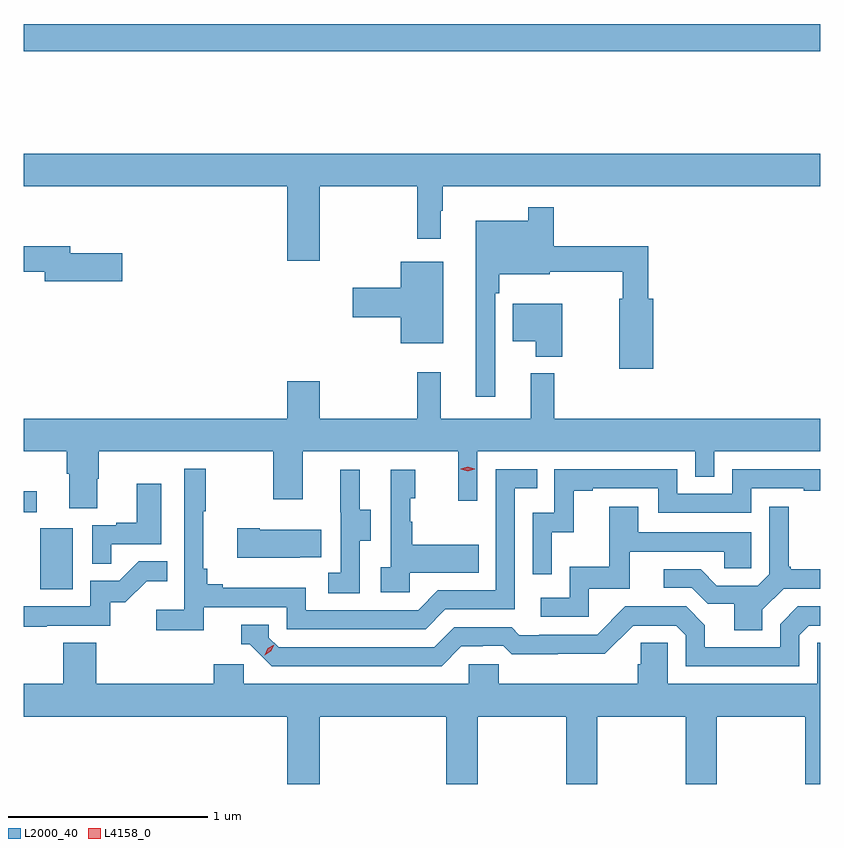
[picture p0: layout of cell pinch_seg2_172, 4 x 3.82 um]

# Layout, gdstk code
import gdstk
lib = gdstk.Library(unit=1e-6, precision=1e-09)
def R(c, l, rs):  # rectangles x0, y0, x1, y1
    for r in rs: c.add(gdstk.rectangle(r[:2], r[2:], *l))
def P(c, l, *ps):  # polygons
    for p in ps: c.add(gdstk.Polygon(p, *l))
L2000_40 = (2000, 40)
L4158_0 = (4158, 0)

pinch_seg2_172 = lib.new_cell('pinch_seg2_172')
R(pinch_seg2_172, L2000_40, [(1134.794,632.292,1134.958,632.599), (1134.713,632.679,1134.778,632.785), (1134.713,634.996,1138.713,635.132)])
P(pinch_seg2_172, L2000_40, [(1136.2,634.316),(1136.689,634.316),(1136.689,634.053),(1136.806,634.053),(1136.806,634.193),(1136.818,634.193),(1136.818,634.316),(1138.713,634.316),(1138.713,634.48),(1134.713,634.48),(1134.713,634.316),(1136.036,634.316),(1136.036,633.942),(1136.2,633.942)],
  [(1137.081,633.779),(1137.101,633.779),(1137.101,633.875),(1137.355,633.875),(1137.355,633.886),(1137.723,633.886),(1137.723,633.751),(1137.704,633.751),(1137.704,633.399),(1137.875,633.399),(1137.875,633.751),(1137.851,633.751),(1137.851,634.015),(1137.374,634.015),(1137.374,634.21),(1137.246,634.21),(1137.246,634.144),(1136.984,634.144),(1136.984,633.258),(1137.081,633.258)],
  [(1135.207,633.981),(1134.946,633.981),(1134.946,634.015),(1134.713,634.015),(1134.713,633.886),(1134.818,633.886),(1134.818,633.839),(1135.207,633.839)],
  [(1136.821,633.937),(1136.606,633.937),(1136.606,633.806),(1136.364,633.806),(1136.364,633.659),(1136.606,633.659),(1136.606,633.527),(1136.821,633.527)],
  [(1137.418,633.727),(1137.17,633.727),(1137.17,633.539),(1137.284,633.539),(1137.284,633.461),(1137.418,633.461)],
  [(1135.081,632.847),(1135.089,632.847),(1135.089,632.984),(1135.966,632.984),(1135.966,632.745),(1136.113,632.745),(1136.113,632.984),(1136.894,632.984),(1136.894,632.736),(1136.991,632.736),(1136.991,632.984),(1138.086,632.984),(1138.086,632.857),(1138.182,632.857),(1138.182,632.984),(1138.713,632.984),(1138.713,633.148),(1137.377,633.148),(1137.377,633.376),(1137.26,633.376),(1137.26,633.148),(1136.807,633.148),(1136.807,633.382),(1136.689,633.382),(1136.689,633.148),(1136.2,633.148),(1136.2,633.337),(1136.036,633.337),(1136.036,633.148),(1134.713,633.148),(1134.713,632.984),(1134.929,632.984),(1134.929,632.872),(1134.941,632.872),(1134.941,632.698),(1135.081,632.698)],
  [(1135.616,632.202),(1136.034,632.202),(1136.034,632.091),(1136.731,632.091),(1136.83,632.19),(1137.18,632.19),(1137.18,632.799),(1137.293,632.799),(1137.293,632.895),(1137.084,632.895),(1137.084,632.286),(1136.793,632.286),(1136.694,632.187),(1136.13,632.187),(1136.13,632.299),(1135.711,632.299),(1135.711,632.318),(1135.634,632.318),(1135.634,632.395),(1135.615,632.395),(1135.615,632.683),(1135.627,632.683),(1135.627,632.896),(1135.518,632.896),(1135.518,632.188),(1135.377,632.188),(1135.377,632.086),(1135.616,632.086)],
  [(1137.366,632.579),(1137.476,632.579),(1137.476,632.787),(1137.571,632.787),(1137.571,632.799),(1137.9,632.799),(1137.9,632.676),(1138.368,632.676),(1138.368,632.799),(1138.631,632.799),(1138.631,632.787),(1138.713,632.787),(1138.713,632.895),(1138.272,632.895),(1138.272,632.772),(1137.996,632.772),(1137.996,632.895),(1137.378,632.895),(1137.378,632.676),(1137.27,632.676),(1137.27,632.367),(1137.366,632.367)],
  [(1136.4,632.536),(1136.455,632.536),(1136.455,632.691),(1136.401,632.691),(1136.401,632.893),(1136.303,632.893),(1136.303,632.679),(1136.304,632.679),(1136.304,632.375),(1136.241,632.375),(1136.241,632.272),(1136.4,632.272)],
  [(1136.652,632.375),(1136.999,632.375),(1136.999,632.515),(1136.665,632.515),(1136.665,632.63),(1136.655,632.63),(1136.655,632.748),(1136.68,632.748),(1136.68,632.893),(1136.556,632.893),(1136.556,632.402),(1136.505,632.402),(1136.505,632.277),(1136.652,632.277)],
  [(1135.151,632.517),(1135.402,632.517),(1135.402,632.821),(1135.28,632.821),(1135.28,632.626),(1135.177,632.626),(1135.177,632.613),(1135.056,632.613),(1135.056,632.419),(1135.151,632.419)],
  [(1138.423,632.188),(1138.53,632.295),(1138.713,632.295),(1138.713,632.392),(1138.567,632.392),(1138.567,632.404),(1138.555,632.404),(1138.555,632.707),(1138.458,632.707),(1138.458,632.367),(1138.401,632.31),(1138.195,632.31),(1138.114,632.391),(1137.927,632.391),(1137.927,632.298),(1138.068,632.298),(1138.148,632.218),(1138.283,632.218),(1138.283,632.086),(1138.423,632.086)],
  [(1137.552,632.295),(1137.757,632.295),(1137.757,632.481),(1138.231,632.481),(1138.231,632.397),(1138.368,632.397),(1138.368,632.577),(1137.799,632.577),(1137.799,632.707),(1137.655,632.707),(1137.655,632.404),(1137.456,632.404),(1137.456,632.25),(1137.309,632.25),(1137.309,632.154),(1137.552,632.154)],
  [(1136.099,632.453),(1136.207,632.453),(1136.207,632.59),(1135.897,632.59),(1135.897,632.598),(1135.785,632.598),(1135.785,632.45),(1136.099,632.45)],
  [(1134.827,632.109),(1135.146,632.109),(1135.146,632.226),(1135.222,632.226),(1135.329,632.333),(1135.433,632.333),(1135.433,632.432),(1135.29,632.432),(1135.192,632.334),(1135.047,632.334),(1135.047,632.205),(1134.713,632.205),(1134.713,632.104),(1134.827,632.104)],
  [(1136.911,632.004),(1137.018,632.004),(1137.018,632.007),(1137.121,632.007),(1137.163,631.965),(1137.396,631.965),(1137.396,631.967),(1137.632,631.967),(1137.774,632.109),(1137.99,632.109),(1138.038,632.061),(1138.038,631.905),(1138.608,631.905),(1138.608,632.061),(1138.656,632.109),(1138.713,632.109),(1138.713,632.205),(1138.602,632.205),(1138.512,632.115),(1138.512,632.001),(1138.135,632.001),(1138.135,632.111),(1138.041,632.205),(1137.735,632.205),(1137.594,632.064),(1137.301,632.064),(1137.301,632.061),(1137.202,632.061),(1137.163,632.1),(1136.874,632.1),(1136.775,632.001),(1135.992,632.001),(1135.944,632.049),(1135.944,632.112),(1135.805,632.112),(1135.805,632.016),(1135.848,632.016),(1135.959,631.905),(1136.812,631.905)],
  [(1136.2,631.652),(1136.834,631.652),(1136.834,631.313),(1136.994,631.313),(1136.994,631.652),(1137.439,631.652),(1137.439,631.313),(1137.594,631.313),(1137.594,631.652),(1138.039,631.652),(1138.039,631.313),(1138.194,631.313),(1138.194,631.652),(1138.639,631.652),(1138.639,631.313),(1138.713,631.313),(1138.713,632.024),(1138.698,632.024),(1138.698,631.816),(1137.948,631.816),(1137.948,632.024),(1137.811,632.024),(1137.811,631.914),(1137.797,631.914),(1137.797,631.816),(1137.099,631.816),(1137.099,631.914),(1136.949,631.914),(1136.949,631.816),(1135.818,631.816),(1135.818,631.914),(1135.667,631.914),(1135.667,631.816),(1135.076,631.816),(1135.076,632.024),(1134.911,632.024),(1134.911,631.816),(1134.713,631.816),(1134.713,631.652),(1136.036,631.652),(1136.036,631.313),(1136.2,631.313)])
P(pinch_seg2_172, L4158_0, [(1136.944,632.885),(1136.908,632.895),(1136.908,632.896),(1136.908,632.896),(1136.944,632.906),(1136.979,632.896),(1136.979,632.896),(1136.979,632.895)],
  [(1135.923,631.961),(1135.923,631.961),(1135.939,631.994),(1135.97,632.013),(1135.97,632.013),(1135.97,632.013),(1135.954,631.98),(1135.923,631.961)])

lib.write_gds('pinch_seg2_172.gds')
